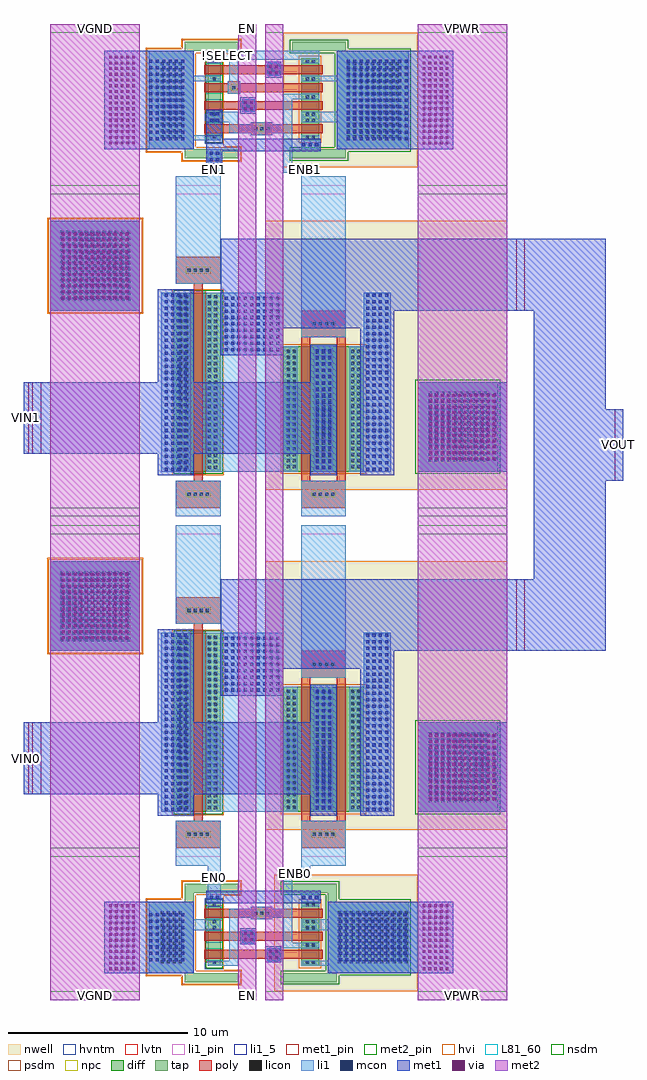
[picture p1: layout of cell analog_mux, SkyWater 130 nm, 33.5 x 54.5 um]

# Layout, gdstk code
import gdstk
lib = gdstk.Library(unit=1e-6, precision=1e-09)
def R(c, l, rs):  # rectangles x0, y0, x1, y1
    for r in rs: c.add(gdstk.rectangle(r[:2], r[2:], *l))
def A(c, l, x, y, w, h, nx, ny, dx, dy):  # array of equal rectangles
    R(c, l, [(x+i*dx, y+j*dy, x+i*dx+w, y+j*dy+h) for i in range(nx) for j in range(ny)])
nwell = (64, 20)
diff = (65, 20)
tap = (65, 44)
poly = (66, 20)
licon = (66, 44)
li1_5 = (67, 5)
li1_pin = (67, 16)
li1 = (67, 20)
mcon = (67, 44)
met1_pin = (68, 16)
met1 = (68, 20)
via = (68, 44)
met2_pin = (69, 16)
met2 = (69, 20)
hvi = (75, 20)
L81_60 = (81, 60)
nsdm = (93, 44)
psdm = (94, 20)
npc = (95, 20)
hvntm = (125, 20)
lvtn = (125, 44)

analog_switch = lib.new_cell('analog_switch')
R(analog_switch, nwell, [(8,-6,21.5,9)])
R(analog_switch, diff, [(3,-5,5.5,5), (9,-5,13.5,2)])
R(analog_switch, tap, [(16.5,-5,21,0), (-4,4,1,9)])
R(analog_switch, poly, [(3,-7,5.5,-5.5), (10,-7,12.5,-5.5), (4,-5.5,4.5,5.5), (10,-5.5,10.5,2.5), (12,-5.5,12.5,2.5), (10,2.5,12.5,4), (3,5.5,5.5,7)])
A(analog_switch, licon, 3.655, -6.335, 0.17, 0.17, 4, 2, 0.34, 12.5)
A(analog_switch, licon, 10.655, -6.335, 0.17, 0.17, 4, 2, 0.34, 9.5)
A(analog_switch, licon, 10.825, -4.865, 0.17, 0.17, 3, 20, 0.34, 0.34)
A(analog_switch, licon, 3.195, -4.845, 0.17, 0.17, 1, 29, 0, 0.34)
A(analog_switch, licon, 3.535, -4.845, 0.17, 0.17, 1, 29, 0, 0.34)
A(analog_switch, licon, 4.795, -4.845, 0.17, 0.17, 1, 29, 0, 0.34)
A(analog_switch, licon, 5.135, -4.845, 0.17, 0.17, 1, 29, 0, 0.34)
A(analog_switch, licon, 9.195, -4.815, 0.17, 0.17, 1, 20, 0, 0.34)
A(analog_switch, licon, 9.535, -4.815, 0.17, 0.17, 1, 20, 0, 0.34)
A(analog_switch, licon, 12.795, -4.815, 0.17, 0.17, 1, 20, 0, 0.34)
A(analog_switch, licon, 13.135, -4.815, 0.17, 0.17, 1, 20, 0, 0.34)
A(analog_switch, licon, 17.135, -4.455, 0.17, 0.17, 10, 12, 0.34, 0.34)
A(analog_switch, licon, -3.455, 4.545, 0.17, 0.17, 12, 12, 0.34, 0.34)
R(analog_switch, li1_pin, [(3,-7.5,5.5,-7), (10,-7.5,12.5,-7), (3,10.5,5.5,11), (10,10.5,12.5,11)])
R(analog_switch, li1, [(3,-7.5,5.5,-5.5), (10,-7.5,12.5,-5.5), (2.2,-5,3.8,5), (4.7,-5,9.8,2), (10.7,-5,11.8,2), (12.7,-5,15,2), (16.5,-5,21.5,0), (4.7,2,9,5), (13.5,2,15,5), (10,2.5,12.5,11), (-4,4,1,9), (3,5.5,5.5,11)])
A(analog_switch, mcon, 2.375, -4.945, 0.17, 0.17, 4, 28, 0.36, 0.36)
A(analog_switch, mcon, 13.625, -4.945, 0.17, 0.17, 4, 28, 0.36, 0.36)
A(analog_switch, mcon, 10.805, -4.825, 0.17, 0.17, 3, 19, 0.36, 0.36)
A(analog_switch, mcon, 17.115, -4.385, 0.17, 0.17, 11, 11, 0.36, 0.36)
A(analog_switch, mcon, 5.725, 1.725, 0.17, 0.17, 9, 9, 0.36, 0.36)
A(analog_switch, mcon, -3.385, 4.615, 0.17, 0.17, 11, 11, 0.36, 0.36)
R(analog_switch, met1_pin, [(-5,-4,-4.5,0), (22,4,22.5,8)])
R(analog_switch, met1, [(2,-5.2,4,-4), (10.5,-5.2,12,-4), (13.3,-5.2,15.2,3), (16.5,-5,21.5,0), (-5,-4,12,0), (2,0,4,5.2), (10.5,0,12,2.1), (5.5,1.5,9,3), (5.5,3,15.2,4), (-4,4,1,9), (5.5,4,22.5,8)])
A(analog_switch, via, 17.165, -4.335, 0.15, 0.15, 12, 12, 0.32, 0.32)
A(analog_switch, via, -3.335, 4.665, 0.15, 0.15, 12, 12, 0.32, 0.32)
R(analog_switch, met2_pin, [(-4,-7.5,1,-7), (16.5,-7.5,21.5,-7), (-4,10.5,1,11), (16.5,10.5,21.5,11)])
R(analog_switch, met2, [(-4,-7.5,1,11), (16.5,-7.5,21.5,11)])
R(analog_switch, hvi, [(8,-6,21.5,9), (2.815,-5.185,5.685,5.185), (-4.185,3.815,1.185,9.185)])
R(analog_switch, L81_60, [(3.9,-5.1,4.6,5.1)])
R(analog_switch, nsdm, [(2.875,-5.125,5.625,5.125), (16.375,-5.125,21.125,0.125)])
R(analog_switch, psdm, [(8.875,-5.125,13.625,2.125), (-4.125,3.875,1.125,9.125)])
R(analog_switch, npc, [(3.555,-6.435,4.945,-6.065), (10.555,-6.435,11.945,-6.065), (10.555,3.065,11.945,3.435), (3.555,6.065,4.945,6.435)])
R(analog_switch, hvntm, [(2.815,-5.185,5.685,5.185)])
R(analog_switch, lvtn, [(3.82,-5.18,4.68,5.18)])
analog_switch.add(gdstk.Label('VOUT', (22.25,6), layer=68, texttype=16))
analog_switch.add(gdstk.Label('VIN', (-4.75,-2), layer=68, texttype=16))
analog_switch.add(gdstk.Label('EN', (4.25,10.75), layer=67, texttype=16))
analog_switch.add(gdstk.Label('EN', (4.25,-7.25), layer=67, texttype=16))
analog_switch.add(gdstk.Label('ENB', (11.25,10.75), layer=67, texttype=16))
analog_switch.add(gdstk.Label('ENB', (11.25,-7.25), layer=67, texttype=16))
analog_switch.add(gdstk.Label('VDD3v3', (19,10.75), layer=69, texttype=16))
analog_switch.add(gdstk.Label('VDD3v3', (19,-7.25), layer=69, texttype=16))
analog_switch.add(gdstk.Label('VGND', (-1.5,10.75), layer=69, texttype=16))
analog_switch.add(gdstk.Label('VGND', (-1.5,-7.25), layer=69, texttype=16))

analog_mux = lib.new_cell('analog_mux')
R(analog_mux, nwell, [(13.5,-26.5,21.5,-20), (14,19.5,21.5,27)])
R(analog_mux, diff, [(9.8,-25.1,10.5,-21.5), (15,-25.1,16,-21.5), (9.8,21,10.5,25.6), (15,21,16,25.6)])
R(analog_mux, tap, [(8.5,-26,11.5,-25.5), (14,-26,17,-25.5), (6.5,-25.5,9,-21.5), (16.5,-25.5,21,-21.5), (8.5,-21.5,9,-21), (16.5,-21.5,17,-21), (8.5,-21,11.5,-20.5), (14,-21,17,-20.5), (8.5,20,11.5,20.5), (14.5,20,17.5,20.5), (6.5,20.5,9,26), (17,20.5,21,26), (8.5,26,11.5,26.5), (14.5,26,17.5,26.5)])
A(analog_mux, poly, 9.6, 22.7, 6.6, 0.5, 1, 3, 0, 1)
R(analog_mux, poly, [(13.1,-24.8,13.8,-24.7), (9.6,-24.7,16.2,-24.2), (13.1,-24.2,13.8,-24.1), (11.7,-23.8,12.4,-23.7), (9.6,-23.7,16.2,-23.2), (11.7,-23.2,12.4,-23.1), (12.2,-22.5,13.4,-22.4), (9.6,-22.4,16.2,-21.9), (12.2,-21.9,13.4,-21.8), (12.2,21.3,13.4,21.4), (9.6,21.4,16.2,21.9), (12.2,21.9,13.4,22), (11.7,22.6,12.4,22.7), (11.7,23.2,12.4,23.3), (10.9,23.6,11.6,23.7), (10.9,24.2,11.6,24.3), (13.1,24.6,13.8,24.7), (13.1,25.2,13.8,25.3)])
A(analog_mux, licon, 7.155, -24.945, 0.17, 0.17, 4, 9, 0.34, 0.34)
A(analog_mux, licon, 17.045, -24.945, 0.17, 0.17, 12, 9, 0.34, 0.34)
A(analog_mux, licon, 12.375, -22.235, 0.17, 0.17, 3, 1, 0.34, 0)
A(analog_mux, licon, 7.155, 21.125, 0.17, 0.17, 4, 13, 0.34, 0.34)
A(analog_mux, licon, 17.555, 21.125, 0.17, 0.17, 9, 13, 0.34, 0.34)
A(analog_mux, licon, 12.385, 21.575, 0.17, 0.17, 3, 1, 0.34, 0)
R(analog_mux, licon, [(10.065,-24.985,10.235,-24.815), (15.245,-24.985,15.415,-24.815), (15.585,-24.985,15.755,-24.815), (13.365,-24.535,13.535,-24.365), (15.245,-24.035,15.415,-23.865), (15.585,-24.035,15.755,-23.865), (11.965,-23.535,12.135,-23.365), (10.065,-23.055,10.235,-22.885), (15.245,-23.055,15.415,-22.885), (15.585,-23.055,15.755,-22.885), (10.065,-22.715,10.235,-22.545), (15.245,-22.715,15.415,-22.545), (15.585,-22.715,15.755,-22.545), (10.065,-21.785,10.235,-21.615), (15.245,-21.785,15.415,-21.615), (15.585,-21.785,15.755,-21.615), (10.065,21.115,10.235,21.285), (15.245,21.115,15.415,21.285), (15.585,21.115,15.755,21.285), (10.065,22.045,10.235,22.215), (15.245,22.045,15.415,22.215), (15.585,22.045,15.755,22.215), (10.065,22.385,10.235,22.555), (15.245,22.385,15.415,22.555), (15.585,22.385,15.755,22.555), (11.965,22.865,12.135,23.035), (15.245,23.365,15.415,23.535), (15.585,23.365,15.755,23.535), (11.165,23.865,11.335,24.035), (10.065,24.365,10.235,24.535), (15.245,24.365,15.415,24.535), (15.585,24.365,15.755,24.535), (13.365,24.865,13.535,25.035), (10.065,25.315,10.235,25.485), (15.245,25.315,15.415,25.485), (15.585,25.315,15.755,25.485)])
R(analog_mux, li1_5, [(9.9,-20.4,10.4,-19.9), (14.5,-20.1,14.9,-19.8), (9.9,19.1,10.4,19.6), (15.1,19.1,15.4,19.6), (10.7,25.6,11.1,25.9)])
R(analog_mux, li1, [(6.5,-25.5,9,-23.1), (16.5,-25.5,21.5,-25.1), (9.8,-25.1,11.5,-24.8), (15,-25.1,21.5,-24.8), (11,-24.8,11.5,-22.4), (13.1,-24.8,13.8,-24.1), (16.5,-24.8,21.5,-23.1), (14,-24.1,16,-23.8), (11.7,-23.8,12.4,-23.1), (14,-23.8,14.5,-22.4), (6.5,-23.1,10.5,-22.5), (15,-23.1,21.5,-22.5), (6.5,-22.5,9,-21.5), (12.2,-22.5,13.4,-22.4), (16.5,-22.5,21.5,-21.5), (11,-22.4,14.5,-21.9), (12.2,-21.9,13.4,-21.8), (14,-21.9,14.5,-20.2), (9.8,-21.8,10.5,-19.5), (15,-21.8,16,-21), (14,-20.2,15.5,-19.7), (15,-19.7,15.5,-19.5), (8,-19.5,10.5,-19), (15,-19.5,17.5,-19), (8,18.5,10.5,19), (15,18.5,17.5,19), (9.8,19,10.5,20.5), (15,19,15.5,19.2), (14,19.2,15.5,19.7), (14,19.7,14.5,21.4), (6.5,20.5,9,21), (15,20.5,16,21.3), (17,20.5,21,22), (6.5,21,10.5,21.3), (6.5,21.3,9,24.3), (12.2,21.3,13.4,21.4), (11,21.4,14.5,21.9), (11,21.9,11.5,22), (12.2,21.9,13.4,22), (14,21.9,14.5,23.3), (9.8,22,11.5,22.6), (15,22,21,22.6), (11.7,22.6,12.4,23.3), (17,22.6,21,24.3), (14,23.3,16,23.6), (10.9,23.6,11.6,24.3), (6.5,24.3,10.5,24.6), (11,24.3,11.5,25.5), (15,24.3,21,24.6), (6.5,24.6,9,26), (13.1,24.6,13.8,25.3), (17,24.6,21,26), (9.8,25.3,10.5,25.5), (15,25.3,16,25.5), (9.8,25.5,16,26)])
A(analog_mux, mcon, 6.515, -24.845, 0.17, 0.17, 6, 8, 0.36, 0.36)
A(analog_mux, mcon, 17.115, -24.845, 0.17, 0.17, 11, 8, 0.36, 0.36)
A(analog_mux, mcon, 15.055, -21.335, 0.17, 0.17, 3, 2, 0.36, 42)
A(analog_mux, mcon, 6.515, 21.005, 0.17, 0.17, 6, 13, 0.36, 0.36)
A(analog_mux, mcon, 17.545, 21.005, 0.17, 0.17, 10, 13, 0.36, 0.36)
R(analog_mux, mcon, [(13.185,-24.715,13.355,-24.545), (13.545,-24.715,13.715,-24.545), (13.185,-24.355,13.355,-24.185), (13.545,-24.355,13.715,-24.185), (11.785,-23.715,11.955,-23.545), (12.145,-23.715,12.315,-23.545), (11.785,-23.355,11.955,-23.185), (12.145,-23.355,12.315,-23.185), (9.885,-21.335,10.055,-21.165), (10.245,-21.335,10.415,-21.165), (9.885,19.835,10.055,20.005), (10.245,19.835,10.415,20.005), (9.885,20.195,10.055,20.365), (10.245,20.195,10.415,20.365), (9.885,22.035,10.055,22.205), (10.245,22.035,10.415,22.205), (9.885,22.395,10.055,22.565), (10.245,22.395,10.415,22.565), (11.785,22.685,11.955,22.855), (12.145,22.685,12.315,22.855), (11.785,23.045,11.955,23.215), (12.145,23.045,12.315,23.215), (13.185,24.685,13.355,24.855), (13.545,24.685,13.715,24.855), (13.185,25.045,13.355,25.215), (13.545,25.045,13.715,25.215)])
R(analog_mux, met1_pin, [(-0.5,-15.5,-0.2,-11.5), (32.5,2,33,6), (-0.5,3.5,-0.2,7.5)])
R(analog_mux, met1, [(4,-25.5,9,-21.5), (16.5,-25.5,23.5,-21.5), (13,-24.9,13.9,-24), (11.6,-23.9,12.5,-23), (9.7,-21.6,16.1,-20.9), (-0.5,-15.5,0,-11.5), (27.5,-7.5,32,-3.5), (28,-3.5,32,2), (28,2,33,6), (-0.5,3.5,0,7.5), (28,6,32,11.5), (27.5,11.5,32,15.5), (9.7,19.7,10.6,20.4), (9.7,20.4,16.1,21.1), (4,20.5,9,26), (17,20.5,23.5,26), (9.7,21.1,10.6,22.7), (11.6,22.5,12.5,23.4), (13,24.5,13.9,25.4)])
A(analog_mux, via, 4.285, -25.335, 0.15, 0.15, 5, 12, 0.32, 0.32)
A(analog_mux, via, 21.785, -25.335, 0.15, 0.15, 5, 12, 0.32, 0.32)
A(analog_mux, via, 4.285, 20.775, 0.15, 0.15, 5, 16, 0.32, 0.32)
A(analog_mux, via, 21.785, 20.775, 0.15, 0.15, 5, 16, 0.32, 0.32)
R(analog_mux, via, [(13.215,-24.685,13.365,-24.535), (13.535,-24.685,13.685,-24.535), (13.215,-24.365,13.365,-24.215), (13.535,-24.365,13.685,-24.215), (11.815,-23.685,11.965,-23.535), (12.135,-23.685,12.285,-23.535), (11.815,-23.365,11.965,-23.215), (12.135,-23.365,12.285,-23.215), (11.815,22.715,11.965,22.865), (12.135,22.715,12.285,22.865), (11.815,23.035,11.965,23.185), (12.135,23.035,12.285,23.185), (13.215,24.715,13.365,24.865), (13.535,24.715,13.685,24.865), (13.215,25.035,13.365,25.185), (13.535,25.035,13.685,25.185)])
R(analog_mux, met2_pin, [(1,-27,6,-26.5), (11.5,-27,12.5,-26.5), (13,-27,14,-26.5), (21.5,-27,26.5,-26.5), (1,27,6,27.5), (11.5,27,12.5,27.5), (13,27,14,27.5), (21.5,27,26.5,27.5)])
R(analog_mux, met2, [(1,-27,6,-19), (11.5,-27,12.5,27.5), (13,-27,14,27.5), (21.5,-27,26.5,-19), (1,-0.5,6,0), (21.5,-0.5,26.5,0), (1,18.5,6,27.5), (21.5,18.5,26.5,27.5)])
R(analog_mux, hvi, [(13.5,-26.5,21.5,-20), (8.315,-26.185,11.685,-25.685), (6.315,-25.685,11.685,-25.315), (6.315,-25.315,10.685,-21.315), (8.315,-21.315,10.685,-21.185), (8.315,-21.185,11.685,-20.315), (14,19.5,21.5,27), (8.315,19.815,11.685,20.315), (6.315,20.315,11.685,20.685), (6.315,20.685,10.685,25.815), (6.315,25.815,11.685,26.185), (8.315,26.185,11.685,26.685)])
A(analog_mux, L81_60, 9.7, 22.6, 0.9, 0.7, 1, 3, 0, 1)
R(analog_mux, L81_60, [(9.7,-24.8,10.6,-24.1), (9.7,-23.8,10.6,-23.1), (9.7,-22.5,10.6,-21.8), (9.7,21.3,10.6,22)])
R(analog_mux, nsdm, [(13.875,-26.125,17.125,-25.625), (13.875,-25.625,21.125,-25.375), (16.375,-25.375,21.125,-21.375), (9.675,-25.225,10.625,-21.375), (16.375,-21.375,17.125,-21.125), (13.875,-21.125,17.125,-20.375), (14.375,19.875,17.625,20.375), (14.375,20.375,21.125,20.625), (16.875,20.625,21.125,25.875), (9.675,20.875,10.625,25.725), (14.375,25.875,21.125,26.125), (14.375,26.125,17.625,26.625)])
R(analog_mux, psdm, [(8.375,-26.125,11.625,-25.625), (6.375,-25.625,11.625,-25.375), (6.375,-25.375,9.125,-21.375), (14.875,-25.225,16.125,-21.375), (8.375,-21.375,9.125,-21.125), (8.375,-21.125,11.625,-20.375), (8.375,19.875,11.625,20.375), (6.375,20.375,11.625,20.625), (6.375,20.625,9.125,25.875), (14.875,20.875,16.125,25.725), (6.375,25.875,11.625,26.125), (8.375,26.125,11.625,26.625)])
R(analog_mux, npc, [(13.265,-24.635,13.635,-24.265), (11.865,-23.635,12.235,-23.265), (12.275,-22.335,13.325,-21.965), (12.285,21.475,13.335,21.845), (11.865,22.765,12.235,23.135), (11.065,23.765,11.435,24.135), (13.265,24.765,13.635,25.135)])
R(analog_mux, hvntm, [(9.615,-25.285,10.685,-21.315), (9.615,20.815,10.685,25.785)])
R(analog_mux, lvtn, [(9.62,-24.88,10.68,-23.02), (9.62,-22.58,10.68,-21.72), (9.62,21.22,10.68,22.08), (9.62,22.52,10.68,25.38)])
analog_mux.add(gdstk.Reference(analog_switch, (5,-11.5)))
analog_mux.add(gdstk.Reference(analog_switch, (5,7.5)))
analog_mux.add(gdstk.Label('EN0', (10.15,-20.15), layer=67, texttype=5))
analog_mux.add(gdstk.Label('ENB0', (14.7,-19.95), layer=67, texttype=5))
analog_mux.add(gdstk.Label('EN1', (10.15,19.35), layer=67, texttype=5))
analog_mux.add(gdstk.Label('ENB1', (15.25,19.35), layer=67, texttype=5))
analog_mux.add(gdstk.Label('!SELECT', (10.9,25.75), layer=67, texttype=5))
analog_mux.add(gdstk.Label('VGND', (3.5,27.25), layer=69, texttype=16))
analog_mux.add(gdstk.Label('VGND', (3.5,-26.75), layer=69, texttype=16))
analog_mux.add(gdstk.Label('VPWR', (24,-26.75), layer=69, texttype=16))
analog_mux.add(gdstk.Label('VPWR', (24,27.25), layer=69, texttype=16))
analog_mux.add(gdstk.Label('VIN1', (-0.35,5.5), layer=68, texttype=16))
analog_mux.add(gdstk.Label('VIN0', (-0.35,-13.5), layer=68, texttype=16))
analog_mux.add(gdstk.Label('VOUT', (32.75,4), layer=68, texttype=16))
analog_mux.add(gdstk.Label('EN', (12,27.25), layer=69, texttype=16))
analog_mux.add(gdstk.Label('EN', (12,-26.75), layer=69, texttype=16))
analog_mux.add(gdstk.Label('SELECT', (13.5,-26.75), layer=69, texttype=16))
analog_mux.add(gdstk.Label('SELECT', (13.5,27.25), layer=69, texttype=16))

lib.write_gds('analog_mux.gds')
